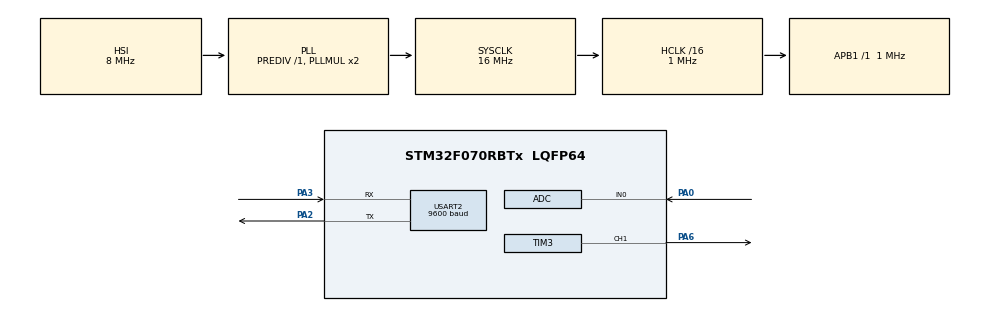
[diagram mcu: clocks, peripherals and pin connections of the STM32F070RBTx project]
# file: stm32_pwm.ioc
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ADC.Resolution=ADC_RESOLUTION_10B
ADC.SamplingTime=ADC_SAMPLETIME_55CYCLES_5
Mcu.Family=STM32F0
Mcu.Name=STM32F070RBTx
Mcu.Package=LQFP64
NVIC.TIM3_IRQn=true\:0\:0\:false\:false\:true\:true\:true
PA0.Mode=IN0
PA0.Signal=ADC_IN0
PA2.Mode=Asynchronous
PA2.Signal=USART2_TX
PA3.Mode=Asynchronous
PA3.Signal=USART2_RX
PA6.Signal=S_TIM3_CH1
PF0-OSC_IN.Mode=HSE-External-Oscillator
PF0-OSC_IN.Signal=RCC_OSC_IN
PF1-OSC_OUT.Mode=HSE-External-Oscillator
PF1-OSC_OUT.Signal=RCC_OSC_OUT
ProjectManager.HeapSize=0x200
ProjectManager.StackSize=0x400
ProjectManager.TargetToolchain=STM32CubeIDE
RCC.AHBCLKDivider=RCC_SYSCLK_DIV16
RCC.AHBFreq_Value=1000000
RCC.APB1Freq_Value=1000000
RCC.APB1TimFreq_Value=1000000
RCC.HCLKFreq_Value=1000000
RCC.SYSCLKFreq_VALUE=16000000
RCC.SYSCLKSource=RCC_SYSCLKSOURCE_PLLCLK
SH.S_TIM3_CH1.0=TIM3_CH1,PWM Generation1 CH1
TIM3.Channel-PWM\ Generation1\ CH1=TIM_CHANNEL_1
TIM3.Period=1000
TIM3.Prescaler=19
TIM3.Pulse-PWM\ Generation1\ CH1=500
USART2.BaudRate=9600
USART2.VirtualMode-Asynchronous=VM_ASYNC
VP_TIM3_VS_ClockSourceINT.Mode=Internal
board=custom

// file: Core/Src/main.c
/* USER CODE BEGIN Header */
/**
  ******************************************************************************
  * @file           : main.c
  * @brief          : Main program body
  ******************************************************************************
  *Written by Mehmet Can Yasak
  ******************************************************************************
  */
/* USER CODE END Header */

#include "main.h"

/* USER CODE BEGIN Includes */
#include "stm32f0xx.h"
#include "stm32f0xx_hal.h"
#include "string.h"
#include "stm32f0xx_hal_uart.h"
#include "stdio.h"
/* USER CODE END Includes */

ADC_HandleTypeDef hadc;

TIM_HandleTypeDef htim3;

UART_HandleTypeDef huart2;

void SystemClock_Config(void);
static void MX_GPIO_Init(void);
static void MX_TIM3_Init(void);
static void MX_ADC_Init(void);
static void MX_USART2_UART_Init(void);

/* USER CODE BEGIN 0 */
uint32_t potadc;
uint32_t servopot;
char str[32];
/* USER CODE END 0 */

int main(void)
{

  /* MCU Configuration--------------------------------------------------------*/

  /* Reset of all peripherals, Initializes the Flash interface and the Systick. */
  HAL_Init();

  /* Configure the system clock */
  SystemClock_Config();

  /* Initialize all configured peripherals */
  MX_GPIO_Init();
  MX_TIM3_Init();
  MX_ADC_Init();
  MX_USART2_UART_Init();
  /* USER CODE BEGIN 2 */
  HAL_TIM_Base_Start(&htim3);

  HAL_TIM_PWM_Start(&htim3, TIM_CHANNEL_1);

  /* USER CODE END 2 */

  /* Infinite loop */
  while (1)
  {

    /* USER CODE BEGIN 3 */
	  int size_len = sprintf (str, "Servo acisi : %lu\n", servopot, 0xFFFF);

	  HAL_ADC_Start(&hadc);
	  if(HAL_ADC_PollForConversion(&hadc, 5) == HAL_OK);

	  {
		  potadc = HAL_ADC_GetValue(&hadc);

		  __HAL_TIM_SET_COMPARE(&htim3, TIM_CHANNEL_1, servopot);
		  HAL_ADC_Start_IT(&hadc);
		  HAL_Delay(1);

	  }
	  	  servopot = potadc/6;

	  	HAL_UART_Transmit (&huart2, (uint8_t *)str, size_len, HAL_MAX_DELAY);
	  	  HAL_Delay(1);
	}

	 }
  /* USER CODE END 3 */

void SystemClock_Config(void)
{
  RCC_OscInitTypeDef RCC_OscInitStruct = {0};
  RCC_ClkInitTypeDef RCC_ClkInitStruct = {0};

  /** Initializes the CPU, AHB and APB busses clocks
  */
  RCC_OscInitStruct.OscillatorType = RCC_OSCILLATORTYPE_HSI|RCC_OSCILLATORTYPE_HSI14;
  RCC_OscInitStruct.HSIState = RCC_HSI_ON;
  RCC_OscInitStruct.HSI14State = RCC_HSI14_ON;
  RCC_OscInitStruct.HSICalibrationValue = RCC_HSICALIBRATION_DEFAULT;
  RCC_OscInitStruct.HSI14CalibrationValue = 16;
  RCC_OscInitStruct.PLL.PLLState = RCC_PLL_ON;
  RCC_OscInitStruct.PLL.PLLSource = RCC_PLLSOURCE_HSI;
  RCC_OscInitStruct.PLL.PLLMUL = RCC_PLL_MUL2;
  RCC_OscInitStruct.PLL.PREDIV = RCC_PREDIV_DIV1;
  if (HAL_RCC_OscConfig(&RCC_OscInitStruct) != HAL_OK)
  {
    Error_Handler();
  }
  /** Initializes the CPU, AHB and APB busses clocks
  */
  RCC_ClkInitStruct.ClockType = RCC_CLOCKTYPE_HCLK|RCC_CLOCKTYPE_SYSCLK
                              |RCC_CLOCKTYPE_PCLK1;
  RCC_ClkInitStruct.SYSCLKSource = RCC_SYSCLKSOURCE_PLLCLK;
  RCC_ClkInitStruct.AHBCLKDivider = RCC_SYSCLK_DIV16;
  RCC_ClkInitStruct.APB1CLKDivider = RCC_HCLK_DIV1;

  if (HAL_RCC_ClockConfig(&RCC_ClkInitStruct, FLASH_LATENCY_0) != HAL_OK)
  {
    Error_Handler();
  }
}

static void MX_ADC_Init(void)
{

  ADC_ChannelConfTypeDef sConfig = {0};

  /** Configure the global features of the ADC (Clock, Resolution, Data Alignment and number of conversion)
  */
  hadc.Instance = ADC1;
  hadc.Init.ClockPrescaler = ADC_CLOCK_ASYNC_DIV1;
  hadc.Init.Resolution = ADC_RESOLUTION_10B;
  hadc.Init.DataAlign = ADC_DATAALIGN_RIGHT;
  hadc.Init.ScanConvMode = ADC_SCAN_DIRECTION_FORWARD;
  hadc.Init.EOCSelection = ADC_EOC_SINGLE_CONV;
  hadc.Init.LowPowerAutoWait = DISABLE;
  hadc.Init.LowPowerAutoPowerOff = DISABLE;
  hadc.Init.ContinuousConvMode = DISABLE;
  hadc.Init.DiscontinuousConvMode = DISABLE;
  hadc.Init.ExternalTrigConv = ADC_SOFTWARE_START;
  hadc.Init.ExternalTrigConvEdge = ADC_EXTERNALTRIGCONVEDGE_NONE;
  hadc.Init.DMAContinuousRequests = DISABLE;
  hadc.Init.Overrun = ADC_OVR_DATA_PRESERVED;
  if (HAL_ADC_Init(&hadc) != HAL_OK)
  {
    Error_Handler();
  }
  /** Configure for the selected ADC regular channel to be converted.
  */
  sConfig.Channel = ADC_CHANNEL_0;
  sConfig.Rank = ADC_RANK_CHANNEL_NUMBER;
  sConfig.SamplingTime = ADC_SAMPLETIME_55CYCLES_5;
  if (HAL_ADC_ConfigChannel(&hadc, &sConfig) != HAL_OK)
  {
    Error_Handler();
  }

}

static void MX_TIM3_Init(void)
{

  TIM_ClockConfigTypeDef sClockSourceConfig = {0};
  TIM_MasterConfigTypeDef sMasterConfig = {0};
  TIM_OC_InitTypeDef sConfigOC = {0};

  htim3.Instance = TIM3;
  htim3.Init.Prescaler = 19;
  htim3.Init.CounterMode = TIM_COUNTERMODE_UP;
  htim3.Init.Period = 1000;
  htim3.Init.ClockDivision = TIM_CLOCKDIVISION_DIV1;
  htim3.Init.AutoReloadPreload = TIM_AUTORELOAD_PRELOAD_DISABLE;
  if (HAL_TIM_Base_Init(&htim3) != HAL_OK)
  {
    Error_Handler();
  }
  sClockSourceConfig.ClockSource = TIM_CLOCKSOURCE_INTERNAL;
  if (HAL_TIM_ConfigClockSource(&htim3, &sClockSourceConfig) != HAL_OK)
  {
    Error_Handler();
  }
  if (HAL_TIM_PWM_Init(&htim3) != HAL_OK)
  {
    Error_Handler();
  }
  sMasterConfig.MasterOutputTrigger = TIM_TRGO_RESET;
  sMasterConfig.MasterSlaveMode = TIM_MASTERSLAVEMODE_DISABLE;
  if (HAL_TIMEx_MasterConfigSynchronization(&htim3, &sMasterConfig) != HAL_OK)
  {
    Error_Handler();
  }
  sConfigOC.OCMode = TIM_OCMODE_PWM1;
  sConfigOC.Pulse = 500;
  sConfigOC.OCPolarity = TIM_OCPOLARITY_HIGH;
  sConfigOC.OCFastMode = TIM_OCFAST_DISABLE;
  if (HAL_TIM_PWM_ConfigChannel(&htim3, &sConfigOC, TIM_CHANNEL_1) != HAL_OK)
  {
    Error_Handler();
  }
  HAL_TIM_MspPostInit(&htim3);

}

static void MX_USART2_UART_Init(void)
{

  huart2.Instance = USART2;
  huart2.Init.BaudRate = 9600;
  huart2.Init.WordLength = UART_WORDLENGTH_8B;
  huart2.Init.StopBits = UART_STOPBITS_1;
  huart2.Init.Parity = UART_PARITY_NONE;
  huart2.Init.Mode = UART_MODE_TX_RX;
  huart2.Init.HwFlowCtl = UART_HWCONTROL_NONE;
  huart2.Init.OverSampling = UART_OVERSAMPLING_16;
  huart2.Init.OneBitSampling = UART_ONE_BIT_SAMPLE_DISABLE;
  huart2.AdvancedInit.AdvFeatureInit = UART_ADVFEATURE_NO_INIT;
  if (HAL_UART_Init(&huart2) != HAL_OK)
  {
    Error_Handler();
  }

}

static void MX_GPIO_Init(void)
{

  /* GPIO Ports Clock Enable */
  __HAL_RCC_GPIOF_CLK_ENABLE();
  __HAL_RCC_GPIOA_CLK_ENABLE();

}

void Error_Handler(void)
{
}

/************************ (C) COPYRIGHT STMicroelectronics *****END OF FILE****/
